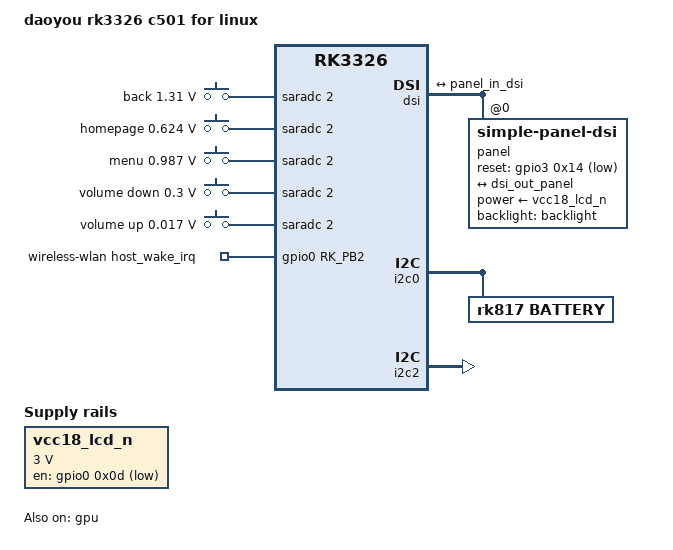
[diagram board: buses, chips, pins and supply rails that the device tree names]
// SPDX-License-Identifier: (GPL-2.0+ OR MIT)
/*
 * Copyright (c) 2026 Opendaoyou
 */

/dts-v1/;
#include "rk3326.dtsi"
#include "px30-android.dtsi"
#include "rk3326-common.dtsi"

/ {
	model = "daoyou rk3326 c501 for linux";
	compatible = "daoyou,rk3326-c501", "rockchip,rk3326";

	adc-keys {
		compatible = "adc-keys";
		io-channels = <&saradc 2>;
		io-channel-names = "buttons";
		poll-interval = <100>;
		keyup-threshold-microvolt = <1800000>;

		esc-key {
			linux,code = <KEY_BACK>;
			label = "back";
			press-threshold-microvolt = <1310000>;
		};

		home-key {
			linux,code = <KEY_HOMEPAGE>;
			label = "homepage";
			press-threshold-microvolt = <624000>;
		};

		menu-key {
			linux,code = <KEY_MENU>;
			label = "menu";
			press-threshold-microvolt = <987000>;
		};

		vol-down-key {
			linux,code = <KEY_VOLUMEDOWN>;
			label = "volume down";
			press-threshold-microvolt = <300000>;
		};

		vol-up-key {
			linux,code = <KEY_VOLUMEUP>;
			label = "volume up";
			press-threshold-microvolt = <17000>;
		};
	};

	
 	wireless-wlan {
		compatible = "wlan-platdata";
		wifi_chip_type = "ap6212";
		WIFI,host_wake_irq = <&gpio0 RK_PB2 GPIO_ACTIVE_HIGH>;
		status = "okay";
	};

	vcc18_lcd_n: vcc18-lcd-n {
		compatible = "regulator-fixed";
		regulator-name = "vcc18_lcd_n";
		regulator-boot-on;
		gpio = <&gpio0 0x0d 0x01>;
		regulator-min-microvolt = <0x2dc6c0>;
		regulator-max-microvolt = <0x2dc6c0>;
	};
};

&dsi {
	status = "okay";

	panel@0 {
		compatible = "simple-panel-dsi";
		reg = <0>;
		backlight = <&backlight>;
		power-supply = <&vcc18_lcd_n>;
		reset-gpios = <&gpio3 0x14 0x01>;
		prepare-delay-ms = <0x14>;
		reset-value = <0x00>;
		reset-delay-ms = <0x32>;
		init-delay-ms = <0x32>;
		unprepare-delay-ms = <0x14>;

		width-mm = <68>;
		height-mm = <121>;

		dsi,flags = <(MIPI_DSI_MODE_VIDEO | MIPI_DSI_MODE_VIDEO_BURST |
			      MIPI_DSI_MODE_LPM | MIPI_DSI_MODE_EOT_PACKET)>;
		dsi,format = <MIPI_DSI_FMT_RGB888>;
		dsi,lanes = <2>;

		panel-init-sequence = <0x5200101 0x290006ff 0x77010000 0x13150002 0xef082900 0x6ff7701 0x1029 0x3c063 0x290003 0xc10d0229 0x3c237 0x8150002 0xcc102900 0x11b00213 0x1b0d1005 0x8070724 0x4110e2c 0x331d2900 0x11b10513 0x1b0d1105 0x8070724 0x4110e2c 0x331d2900 0x6ff7701 0x1115 0x2b0b5 0x150002b1 0x6f150002 0xb2851500 0x2b38015 0x2b54c 0x150002b7 0x85150002 0xb8301500 0x2bb0015 0x2c108 0x150002c2 0x8156402 0xd0882900 0x4e00000 0x229000c 0xe101a003 0xa002a004 0xa0004444 0x29000de2 0x00 0x00 0x00 0x290005e3 0x3333 0x290003e4 0x44442900 0x11e5012b 0xa080032d 0xa080052f 0xa0800731 0xa0802900 0x5e60000 0x33332900 0x3e74444 0x290011e8 0x22ca080 0x42ea080 0x630a080 0x832a080 0x290008eb 0xe4e4 0x44004029 0x11edff 0xf017654a 0xbfafffff 0xfafba456 0x710fff29 0x6ff77 0x1000000 0x5780111 0x5100129>;
		panel-exit-sequence = <0x5000128 0x5000110>;
		
		display-timings {
			native-mode = <&timing0>;

			timing0: timing0 {
				clock-frequency = <0x233f700>;
				hactive = <0x1e0>;
				vactive = <0x320>;
				hfront-porch = <0x1e>;
				hsync-len = <0x0a>;
				hback-porch = <0x28>;
				vfront-porch = <0x28>;
				vsync-len = <0x0a>;
				vback-porch = <0x1e>;
				hsync-active = <0x00>;
				vsync-active = <0x00>;
				de-active = <0x00>;
				pixelclk-active = <0x00>;
			};
		};

		ports {
			#address-cells = <1>;
			#size-cells = <0>;

			port@0 {
				reg = <0>;
				panel_in_dsi: endpoint {
					remote-endpoint = <&dsi_out_panel>;
				};
			};
		};
	};

	ports {
		#address-cells = <1>;
		#size-cells = <0>;

		port@1 {
			reg = <1>;
			dsi_out_panel: endpoint {
				remote-endpoint = <&panel_in_dsi>;
			};
		};
	};
};

&i2c0 {
	
	battery {
		compatible = "rk817,battery";
		ocv_table = <0xd48 0xe4e 0xe5f 0xe78 0xe91 0xea1 0xead 0xeb5 0xebc 0xec7 0xed3 0xee4 0xf02 0xf2b 0xf47 0xf65 0xf7d 0xfa4 0xfdf 0x1004 0x103c>;
		design_capacity = <0x4e2>;
		design_qmax = <0x55f>;
		bat_res = <0x82>;
		sleep_enter_current = <0x12c>;
		sleep_exit_current = <0x12c>;
		sleep_filter_current = <0x64>;
		power_off_thresd = <0xd7a>;
		zero_algorithm_vol = <0xf0a>;
		max_soc_offset = <0x3c>;
		monitor_sec = <0x05>;
		sample_res = <0x0a>;
		virtual_power = <0x00>;
	};
};

&i2c1 {
	status = "disabled";
	clock-frequency = <400000>;
	i2c-scl-rising-time-ns = <275>;
	i2c-scl-falling-time-ns = <16>;

};

&i2c2 {
	status = "okay";
};



&vip_mmu {
	status = "okay";
};

/* Panfrost driver */
&gpu {
	mali-supply = <&vdd_logic>;
    // interrupts = <GIC_SPI 47 IRQ_TYPE_LEVEL_HIGH>,
    //              <GIC_SPI 46 IRQ_TYPE_LEVEL_HIGH>,
    //              <GIC_SPI 45 IRQ_TYPE_LEVEL_HIGH>;

    // interrupt-names = "job", "mmu", "gpu";
    status = "okay";
};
